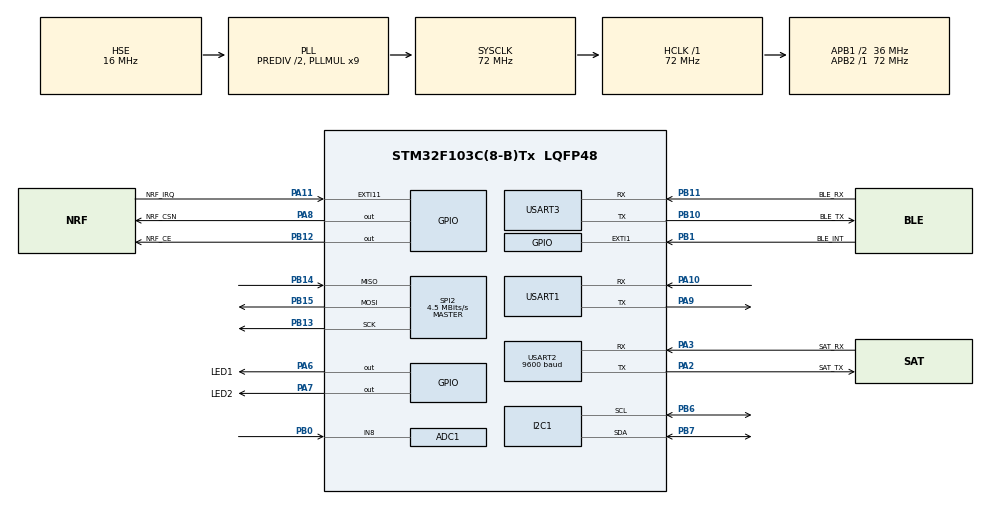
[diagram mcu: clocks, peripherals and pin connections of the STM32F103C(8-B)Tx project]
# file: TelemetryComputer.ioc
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ADC1.Channel-4\#ChannelRegularConversion=ADC_CHANNEL_8
ADC1.NbrOfConversionFlag=1
ADC1.Rank-4\#ChannelRegularConversion=1
ADC1.SamplingTime-4\#ChannelRegularConversion=ADC_SAMPLETIME_1CYCLE_5
ADC1.master=1
I2C1.I2C_Mode=I2C_Fast
I2C1.NoStretchMode=I2C_NOSTRETCH_DISABLE
I2C1.OwnAddress=4
Mcu.Family=STM32F1
Mcu.Name=STM32F103C(8-B)Tx
Mcu.Package=LQFP48
NVIC.EXTI15_10_IRQn=true\:0\:0\:false\:false\:true\:true\:true
NVIC.I2C1_ER_IRQn=true\:0\:0\:false\:false\:true\:true\:true
NVIC.I2C1_EV_IRQn=true\:0\:0\:true\:false\:true\:true\:true
NVIC.PriorityGroup=NVIC_PRIORITYGROUP_4
NVIC.TIM4_IRQn=true\:0\:0\:false\:false\:true\:true\:true
NVIC.USART1_IRQn=true\:0\:0\:false\:false\:true\:true\:true
NVIC.USART2_IRQn=true\:0\:0\:false\:false\:true\:true\:true
PA10.Mode=Asynchronous
PA10.Signal=USART1_RX
PA11.GPIO_Label=NRF_IRQ
PA11.GPIO_ModeDefaultEXTI=GPIO_MODE_IT_FALLING
PA11.Signal=GPXTI11
PA2.GPIO_Label=SAT_TX
PA2.Mode=Asynchronous
PA2.Signal=USART2_TX
PA3.GPIO_Label=SAT_RX
PA3.Mode=Asynchronous
PA3.Signal=USART2_RX
PA6.GPIO_Label=LED1
PA6.Signal=GPIO_Output
PA7.GPIO_Label=LED2
PA7.Signal=GPIO_Output
PA8.GPIO_Label=NRF_CSN
PA8.Signal=GPIO_Output
PA9.Mode=Asynchronous
PA9.Signal=USART1_TX
PB0.Signal=ADCx_IN8
PB1.GPIO_Label=BLE_INT
PB1.Signal=GPXTI1
PB10.GPIO_Label=BLE_TX
PB10.Mode=Asynchronous
PB10.Signal=USART3_TX
PB11.GPIO_Label=BLE_RX
PB11.Mode=Asynchronous
PB11.Signal=USART3_RX
PB12.GPIO_Label=NRF_CE
PB12.Signal=GPIO_Output
PB13.Mode=Full_Duplex_Master
PB13.Signal=SPI2_SCK
PB14.Mode=Full_Duplex_Master
PB14.Signal=SPI2_MISO
PB15.Mode=Full_Duplex_Master
PB15.Signal=SPI2_MOSI
PB6.Mode=I2C
PB6.Signal=I2C1_SCL
PB7.Mode=I2C
PB7.Signal=I2C1_SDA
PD0-OSC_IN.Mode=HSE-External-Oscillator
PD0-OSC_IN.Signal=RCC_OSC_IN
PD1-OSC_OUT.Mode=HSE-External-Oscillator
PD1-OSC_OUT.Signal=RCC_OSC_OUT
ProjectManager.HeapSize=0x200
ProjectManager.StackSize=0x400
ProjectManager.TargetToolchain=STM32CubeIDE
RCC.ADCPresc=RCC_ADCPCLK2_DIV6
RCC.AHBFreq_Value=72000000
RCC.APB1CLKDivider=RCC_HCLK_DIV2
RCC.APB1Freq_Value=36000000
RCC.APB1TimFreq_Value=72000000
RCC.APB2Freq_Value=72000000
RCC.APB2TimFreq_Value=72000000
RCC.HCLKFreq_Value=72000000
RCC.HSEDivPLL=RCC_HSE_PREDIV_DIV2
RCC.HSE_VALUE=16000000
RCC.PLLMUL=RCC_PLL_MUL9
RCC.PLLSourceVirtual=RCC_PLLSOURCE_HSE
RCC.SYSCLKFreq_VALUE=72000000
RCC.SYSCLKSource=RCC_SYSCLKSOURCE_PLLCLK
RCC.USBFreq_Value=72000000
SH.ADCx_IN8.0=ADC1_IN8,IN8
SPI2.BaudRatePrescaler=SPI_BAUDRATEPRESCALER_8
SPI2.CalculateBaudRate=4.5 MBits/s
SPI2.Direction=SPI_DIRECTION_2LINES
SPI2.Mode=SPI_MODE_MASTER
SPI2.VirtualType=VM_MASTER
TIM4.Period=64999
TIM4.Prescaler=71
USART1.VirtualMode=VM_ASYNC
USART2.BaudRate=9600
USART2.VirtualMode=VM_ASYNC
USART3.VirtualMode=VM_ASYNC
VP_SYS_VS_ND.Mode=No_Debug
VP_TIM4_VS_ClockSourceINT.Mode=Internal
board=custom

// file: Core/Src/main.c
/* USER CODE BEGIN Header */
/**
  ******************************************************************************
  * @file           : main.c
  * @brief          : Main program body
  ******************************************************************************
  * @attention
  *
  * <h2><center>&copy; Copyright (c) 2020 STMicroelectronics.
  * All rights reserved.</center></h2>
  *
  * This software component is licensed by ST under BSD 3-Clause license,
  * the "License"; You may not use this file except in compliance with the
  * License. You may obtain a copy of the License at:
  *                        opensource.org/licenses/BSD-3-Clause
  *
  ******************************************************************************
  */
/* USER CODE END Header */
#include "main.h"
#include "adc.h"
#include "i2c.h"
#include "spi.h"
#include "tim.h"
#include "usart.h"
#include "gpio.h"

/* USER CODE BEGIN Includes */

#include "nrf24radio.h"
#include "gps.h"

/* USER CODE END Includes */

/* USER CODE BEGIN PD */

#define MY_ADDRESS 0x04

/* USER CODE END PD */

/* USER CODE BEGIN PV */

NRF24_RADIO nrf_radio;

volatile uint8_t i2c_receive_flag = 0;
volatile uint8_t new_packet_to_send_available = 0;
volatile uint8_t receieve_buffer[32];

data_packet empty_data_packet;
volatile data_packet *packet_to_send_to_master;

volatile uint32_t micros_timer_base;
volatile uint32_t millis_timer_base;

uint32_t time_since_last_radio_send = 0;

uint32_t test_led_timer = 0, test_i2c_last_received;

uint8_t buf[20];

volatile uint8_t telem_i2c_send_done = 0;

/* USER CODE END PV */

void SystemClock_Config(void);

int main(void)
{

  /* MCU Configuration--------------------------------------------------------*/

  /* Reset of all peripherals, Initializes the Flash interface and the Systick. */
  HAL_Init();

  /* Configure the system clock */
  SystemClock_Config();

  /* Initialize all configured peripherals */
  MX_GPIO_Init();
  MX_ADC1_Init();
  MX_I2C1_Init();
  MX_SPI2_Init();
  MX_USART1_UART_Init();
  MX_USART2_UART_Init();
  MX_USART3_UART_Init();
  MX_TIM4_Init();
  /* USER CODE BEGIN 2 */

  nrf_radio.spiHandle = &hspi2;
  nrf_radio.csnPinPort = NRF_CSN_GPIO_Port;
  nrf_radio.cePinPort = NRF_CE_GPIO_Port;
  nrf_radio.csnPin = NRF_CSN_Pin;
  nrf_radio.cePin = NRF_CE_Pin;

  GPS_Init();

  HAL_Delay(500);

  HAL_TIM_Base_Start_IT(&htim4);

  empty_data_packet.width = 1;
  empty_data_packet.reliable = 0;

  unreliable_packet.width = 0;
  current_i2c_packet.width = 0;

  for(int i = 0; i < 35; i++)
  {
	  empty_data_packet.payload[i] = 0x00;
	  unreliable_packet.payload[i] = 0x00;
	  current_i2c_packet.payload[i] = 0x00;
  }

  packet_to_send_to_master = &empty_data_packet;

  NRF24_Init(&nrf_radio);

  HAL_Delay(500);

  HAL_I2C_Slave_Receive_IT(&hi2c1, (uint8_t *)current_i2c_packet.payload, 35);

  test_i2c_last_received = GetMillis();

  uint8_t temp_uart_buffer[32];

  /* USER CODE END 2 */

  /* Infinite loop */
  /* USER CODE BEGIN WHILE */
  while (1)
  {
	  if(HAL_I2C_EnableListen_IT(&hi2c1) != HAL_OK)
	  {
		  //fail
	  }

	  /*if(GetMillisDifference(&test_i2c_last_received) > 900 && GetMillis() > 5000)
	  {
		  //HAL_I2C_DeInit(&hi2c1);
		  //MX_I2C1_Init();
		  //test_i2c_last_received = GetMillis();
		  //HAL_GPIO_WritePin(LED2_GPIO_Port, LED2_Pin, GPIO_PIN_RESET);
		  HAL_GPIO_WritePin(LED2_GPIO_Port, LED2_Pin, GPIO_PIN_SET);
		  if(HAL_I2C_GetState(&hi2c1) == HAL_I2C_STATE_READY)
		  {
			  HAL_I2C_Slave_Receive_IT(&hi2c1, (uint8_t *)current_i2c_packet.payload, 35);
		  }

		  sprintf((char *)temp_uart_buffer, "%lu%s", HAL_I2C_GetState(&hi2c1), "\r\n");
		  //hi2c1.Instance->CR1 |= I2C_CR1_SWRST;
		  //HAL_I2C_STATE_BUSY;

		  HAL_UART_Transmit_IT(&huart1, (uint8_t *)temp_uart_buffer, sizeof((uint8_t *)temp_uart_buffer));
	  }
	  else
	  {
		  //HAL_GPIO_WritePin(LED2_GPIO_Port, LED2_Pin, GPIO_PIN_SET);
	  }*/

	  if(GetMillisDifference(&test_led_timer) > 500)
	  {
		  test_led_timer = GetMillis();
		  HAL_GPIO_TogglePin(LED1_GPIO_Port, LED1_Pin);
	  }

	  if(radio_irq_flag == 1)
	  {
		  radio_irq_flag = 0;

		  uint8_t reg_value = NRF24_GetAddress(&nrf_radio, 7);

		  uint8_t tx_success = reg_value & (1 << 5);
		  uint8_t rx_success = reg_value & (1 << 6);
		  uint8_t tx_fail = reg_value & (1 << 4);

		  if(tx_success)
		  {
			  waiting_for_ack = 0;

			  if(reliable_packet_to_gcs_counter > 0)
			  {
				  //Get rid of first index of array and shift
				  for(int i = 0; i < reliable_packet_to_gcs_counter - 1; i++)
				  {
					  reliable_packets_to_gcs[i].width = reliable_packets_to_gcs[i+1].width;
					  reliable_packets_to_gcs[i].reliable = 1;

					  for(int j = 0; j < 35; j++)
					  {
						  reliable_packets_to_gcs[i].payload[j] = reliable_packets_to_gcs[i+1].payload[j];
					  }
				  }

				  reliable_packet_to_gcs_counter--;
			  }

			  if(rx_success)
			  {
				  NRF24_PacketRead(&nrf_radio);
				  NRF24_FlushRX(&nrf_radio);
				  NRF24_WriteBit(&nrf_radio, 7, 6, 1);
			  }

			  NRF24_WriteBit(&nrf_radio, 7, 5, 1);
		  }

		  if(tx_fail)
		  {
			  waiting_for_ack = 0;
			  NRF24_WriteBit(&nrf_radio, 7, 4, 1);
		  }
	  }

	  if(GetMicrosDifference(&time_since_last_radio_send) > 500 && (new_packet_to_send_available || reliable_packet_to_gcs_counter > 0) && waiting_for_ack == 0)
	  {
		  time_since_last_radio_send = GetMicros();

		  //HAL_GPIO_TogglePin(GPIOA, GPIO_PIN_7);
		  //HAL_GPIO_TogglePin(GPIOA, GPIO_PIN_6);

		  if(reliable_packet_to_gcs_counter > 0)
		  {
			  NRF24_PacketSend(&nrf_radio, &reliable_packets_to_gcs[0]);
		  }
		  else
		  {
			  new_packet_to_send_available = 0;
			  NRF24_PacketSend(&nrf_radio, &unreliable_packet);
		  }
	  }

	  if(telem_i2c_send_done)
	  {
		  telem_i2c_send_done = 0;

		  if(packets_to_receive_counter > 0)
		  {
			  if(packets_to_receive[0].payload[0] == 0xFD)
				  waiting_for_gps_packet_sent = 0;

			  for(int i = 0; i < packets_to_receive_counter - 1; i++)
			  {
				  packets_to_receive[i].width = packets_to_receive[i+1].width;
				  packets_to_receive[i].reliable = 0;

				  for(int j = 0; j < 35; j++)
				  {
					  packets_to_receive[i].payload[j] = packets_to_receive[i+1].payload[j];
				  }
			  }

			  packets_to_receive_counter--;
		  }
	  }

	  if(i2c_receive_flag)
	  {
		  i2c_receive_flag = 0;
		  new_packet_to_send_available = 1;

		  current_i2c_packet.width = current_i2c_packet.payload[32];
		  current_i2c_packet.reliable = current_i2c_packet.payload[33];

		  if(current_i2c_packet.reliable && reliable_packet_to_gcs_counter < 31)
		  {
			  reliable_packets_to_gcs[reliable_packet_to_gcs_counter].width = current_i2c_packet.width;
			  reliable_packets_to_gcs[reliable_packet_to_gcs_counter].reliable = 1;
			  for(int i = 0; i < 35; i++)
			  {
				  reliable_packets_to_gcs[reliable_packet_to_gcs_counter].payload[i] = current_i2c_packet.payload[i];
			  }

			  reliable_packet_to_gcs_counter++;
		  }
		  else if(current_i2c_packet.reliable == 0)
		  {
			  unreliable_packet.width = current_i2c_packet.width;
			  unreliable_packet.reliable = 0;

			  for(int i = 0; i < 35; i++)
			  {
				  unreliable_packet.payload[i] = current_i2c_packet.payload[i];
			  }
		  }

		  if(packets_to_receive_counter > 0)
		  {
			  packet_to_send_to_master = &packets_to_receive[0];
		  }
		  else
		  {
			  packet_to_send_to_master = &empty_data_packet;
		  }
	  }

	  GPS_Read();

    /* USER CODE END WHILE */

  }
}

void SystemClock_Config(void)
{
  RCC_OscInitTypeDef RCC_OscInitStruct = {0};
  RCC_ClkInitTypeDef RCC_ClkInitStruct = {0};
  RCC_PeriphCLKInitTypeDef PeriphClkInit = {0};

  /** Initializes the RCC Oscillators according to the specified parameters
  * in the RCC_OscInitTypeDef structure.
  */
  RCC_OscInitStruct.OscillatorType = RCC_OSCILLATORTYPE_HSE;
  RCC_OscInitStruct.HSEState = RCC_HSE_ON;
  RCC_OscInitStruct.HSEPredivValue = RCC_HSE_PREDIV_DIV2;
  RCC_OscInitStruct.HSIState = RCC_HSI_ON;
  RCC_OscInitStruct.PLL.PLLState = RCC_PLL_ON;
  RCC_OscInitStruct.PLL.PLLSource = RCC_PLLSOURCE_HSE;
  RCC_OscInitStruct.PLL.PLLMUL = RCC_PLL_MUL9;
  if (HAL_RCC_OscConfig(&RCC_OscInitStruct) != HAL_OK)
  {
    Error_Handler();
  }
  /** Initializes the CPU, AHB and APB buses clocks
  */
  RCC_ClkInitStruct.ClockType = RCC_CLOCKTYPE_HCLK|RCC_CLOCKTYPE_SYSCLK
                              |RCC_CLOCKTYPE_PCLK1|RCC_CLOCKTYPE_PCLK2;
  RCC_ClkInitStruct.SYSCLKSource = RCC_SYSCLKSOURCE_PLLCLK;
  RCC_ClkInitStruct.AHBCLKDivider = RCC_SYSCLK_DIV1;
  RCC_ClkInitStruct.APB1CLKDivider = RCC_HCLK_DIV2;
  RCC_ClkInitStruct.APB2CLKDivider = RCC_HCLK_DIV1;

  if (HAL_RCC_ClockConfig(&RCC_ClkInitStruct, FLASH_LATENCY_2) != HAL_OK)
  {
    Error_Handler();
  }
  PeriphClkInit.PeriphClockSelection = RCC_PERIPHCLK_ADC;
  PeriphClkInit.AdcClockSelection = RCC_ADCPCLK2_DIV6;
  if (HAL_RCCEx_PeriphCLKConfig(&PeriphClkInit) != HAL_OK)
  {
    Error_Handler();
  }
}

/* USER CODE BEGIN 4 */

void HAL_GPIO_EXTI_Callback(uint16_t GPIO_Pin)
{
	if(GPIO_Pin == NRF_IRQ_Pin)
	{
		radio_irq_flag = 1;
		//HAL_GPIO_TogglePin(GPIOA, GPIO_PIN_7);
	}
}

void HAL_I2C_AddrCallback(I2C_HandleTypeDef *hi2c, uint8_t TransferDirection, uint16_t AddrMatchCode)
{
	if(AddrMatchCode == (uint8_t)(0x04 << 1))
	{
		if(TransferDirection == I2C_DIRECTION_TRANSMIT)
		{
			if(HAL_I2C_Slave_Seq_Receive_IT(&hi2c1, (uint8_t *)current_i2c_packet.payload, 35, I2C_FIRST_FRAME) != HAL_OK)
			{
				//fail
			}
		}
		else
		{
			if(HAL_I2C_Slave_Seq_Transmit_IT(&hi2c1, (uint8_t *)(packet_to_send_to_master->payload), 34, I2C_LAST_FRAME) != HAL_OK)
			{
				//fail
			}
		}
	}
}

void HAL_I2C_ListenCpltCallback(I2C_HandleTypeDef *hi2c)
{

}

void HAL_I2C_SlaveRxCpltCallback(I2C_HandleTypeDef *hi2c)
{
	i2c_receive_flag = 1;
}

void HAL_I2C_SlaveTxCpltCallback(I2C_HandleTypeDef *hi2c)
{
	telem_i2c_send_done = 1;
	//HAL_I2C_Slave_Receive_IT(&hi2c1, (uint8_t *)current_i2c_packet.payload, 35);
}

void HAL_TIM_PeriodElapsedCallback(TIM_HandleTypeDef *htim)
{
	if(htim == &htim4)
	{
		//Look into overflow
		micros_timer_base += 65000;//65536;
		millis_timer_base += 65;//Overflow doesn't matter unless board is running for more than 49 days
	}
}

void HAL_I2C_ErrorCallback(I2C_HandleTypeDef *hi2c)
{
	//HAL_I2C_DeInit(&hi2c1);
	//MX_I2C1_Init();
	//HAL_GPIO_WritePin(LED2_GPIO_Port, LED2_Pin, GPIO_PIN_SET);

	//HAL_I2C_STATE_BUSY;
	//HAL_I2C_GetError(&hi2c1);
	//sprintf((char *)temp_uart_buffer, "%lu%s", HAL_I2C_GetError(&hi2c1), "\r\n");

	//HAL_UART_Transmit_IT(&huart1, (uint8_t *)temp_uart_buffer, sizeof((uint8_t *)temp_uart_buffer));
}

uint32_t GetMicros()
{
	//return micros_timer_base + __HAL_TIM_GET_COUNTER(&htim4);
	return __HAL_TIM_GET_COUNTER(&htim4);
	//return 0;
}

uint32_t GetMillis()
{
	return millis_timer_base + (GetMicros() / 1000);
}

uint32_t GetMillisDifference(uint32_t *timer_counter_to_use)
{
	return GetMillis() - *timer_counter_to_use;
}

uint32_t GetMicrosDifference(uint32_t *timer_counter_to_use)
{
	uint32_t current_micros = GetMicros();
	uint32_t micros_difference = 0;

	if(current_micros > *timer_counter_to_use)
	{
		micros_difference = current_micros - *timer_counter_to_use;
	}
	else if(current_micros < *timer_counter_to_use)
	{
		micros_difference = 65000 + current_micros - *timer_counter_to_use;
	}

	return micros_difference;
}

/* USER CODE END 4 */

void Error_Handler(void)
{
}

/************************ (C) COPYRIGHT STMicroelectronics *****END OF FILE****/
